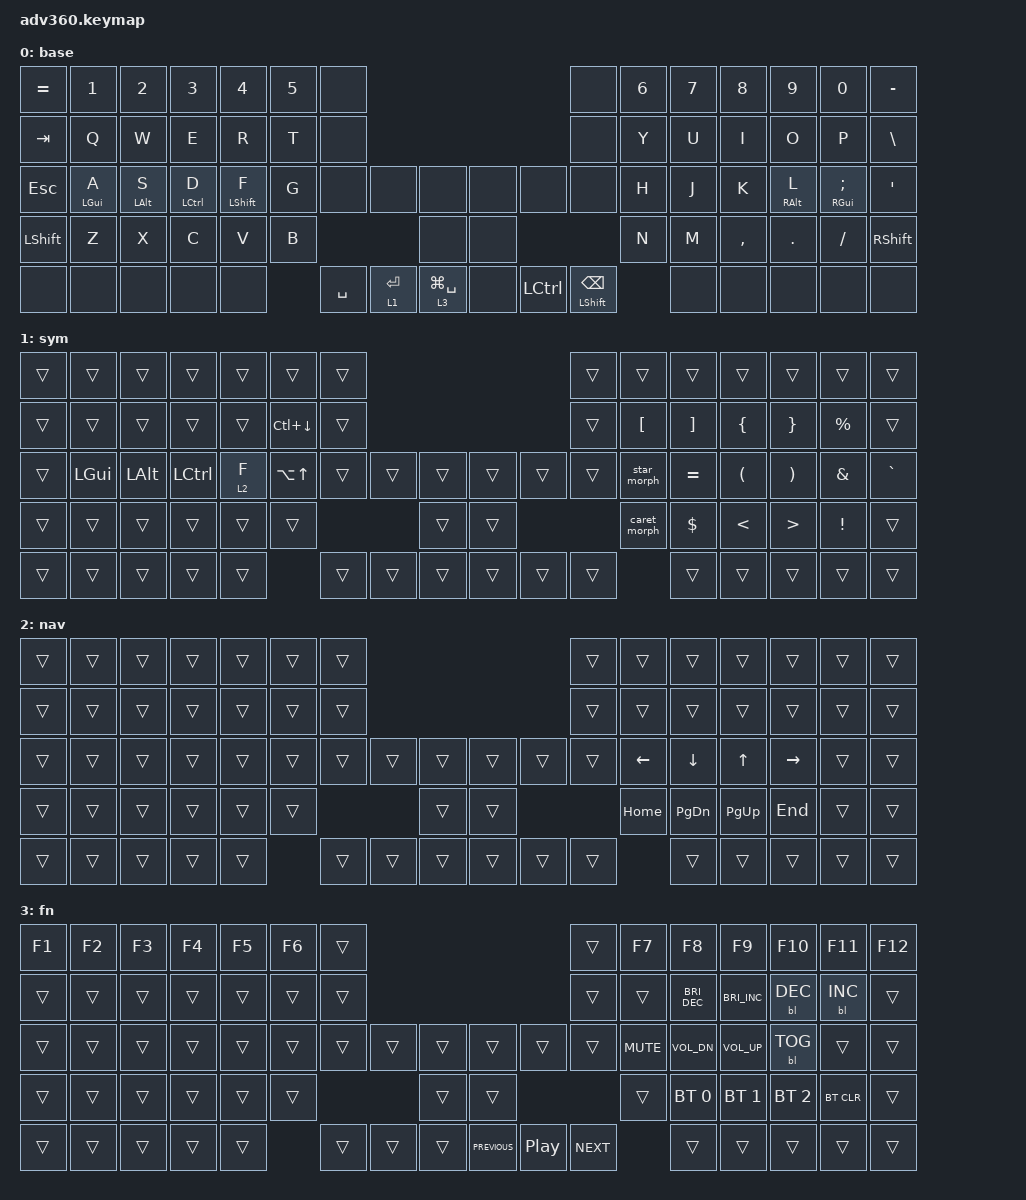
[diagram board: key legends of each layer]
#include <behaviors.dtsi>
#include <dt-bindings/zmk/backlight.h>
#include <dt-bindings/zmk/bt.h>
#include <dt-bindings/zmk/keys.h>

#define KEYS_L 0 1 2 3 4 5 6 14 15 16 17 18 19 20 28 29 30 31 32 33 34 46 47 48 49 50 51 60 61 62 63 64
#define THUMBS_LEFT 35 36 52 65 66 67
#define KEYS_R 7 8 9 10 11 12 13 21 22 23 24 25 26 27 39 40 41 42 43 44 45 54 55 56 57 58 59 71 72 73 74 75
#define THUMBS_RIGHT 37 38 53 68 69 70
#define BASE 0
#define LOWER 1
#define RAISE 2
#define FN 3
#define ADJUST 4

/ {
    behaviors {
        hml: homerow_mods_left {
            compatible = "zmk,behavior-hold-tap";
            label = "HOMEROW_MODS_LEFT";
            #binding-cells = <2>;
            bindings = <&kp>, <&kp>;

            flavor = "balanced";
            tapping-term-ms = <280>;
            quick-tap-ms = <175>; // repeat on tap-into-hold
            require-prior-idle-ms = <150>;
            bindings = <&kp>, <&kp>;

            hold-trigger-key-positions = <KEYS_R THUMBS_LEFT THUMBS_RIGHT>;
            hold-trigger-on-release; // delay positional check until key-release
        };

        hmr: homerow_mods_right {
            compatible = "zmk,behavior-hold-tap";
            label = "HOMEROW_MODS_RIGHT";
            #binding-cells = <2>;
            bindings = <&kp>, <&kp>;

            flavor = "balanced";
            tapping-term-ms = <280>;
            quick-tap-ms = <175>; // repeat on tap-into-hold
            require-prior-idle-ms = <150>;
            bindings = <&kp>, <&kp>;

            hold-trigger-key-positions = <KEYS_L THUMBS_LEFT THUMBS_RIGHT>;
            hold-trigger-on-release; // delay positional check until key-release
        };

        comma_morph: comma_morph {
            compatible = "zmk,behavior-mod-morph";
            label = "COMMA_MORPH";
            #binding-cells = <0>;
            bindings = <&kp COMMA>, <&kp SEMI>;

            mods = <(MOD_RSFT|MOD_LSFT)>;
        };

        dot_morph: dot_morph {
            compatible = "zmk,behavior-mod-morph";
            label = "DOT_MORPH";
            #binding-cells = <0>;
            bindings = <&kp DOT>, <&kp COLON>;

            mods = <(MOD_RSFT|MOD_LSFT)>;
        };

        star_morph: star_morph {
            compatible = "zmk,behavior-mod-morph";
            label = "STAR_MORPH";
            #binding-cells = <0>;
            bindings = <&kp ASTERISK>, <&kp HASH>;

            mods = <(MOD_RSFT|MOD_LSFT)>;
        };

        caret_morph: caret_morph {
            compatible = "zmk,behavior-mod-morph";
            label = "CARET_MORPH";
            #binding-cells = <0>;
            bindings = <&kp CARET>, <&kp LC(NUMBER_6)>;

            mods = <(MOD_LCTL|MOD_RCTL)>;
        };
    };

    macros {
        dot_space: dot_space {
            compatible = "zmk,behavior-macro";
            #binding-cells = <0>;
            bindings = <&kp DOT &kp SPACE &sk LSHFT>;
            label = "DOT_SPACE";
            wait-ms = <0>;
            tap-ms = <5>;
        };
    };

    combos {
        compatible = "zmk,combos";

        // smart caps lock

        combo_caps_word {
            timeout-ms = <50>;
            key-positions = <32 41>;
            bindings = <&caps_word>;
            layers = <0>;
        };

        // sticky shift after dot and space

        combo_dot_spc {
            timeout-ms = <50>;
            key-positions = <57 69>;
            bindings = <&dot_space>;
            layers = <0>;
        };

        // =

        combo_equal {
            timeout-ms = <50>;
            key-positions = <40 41>;
            bindings = <&kp EQUAL>;
            layers = <0>;
        };

        // {

        combo_lbrc {
            timeout-ms = <50>;
            key-positions = <23 24>;
            bindings = <&kp LBRC>;
            layers = <0>;
        };

        // }

        combo_rbrc {
            timeout-ms = <50>;
            key-positions = <24 25>;
            bindings = <&kp RBRC>;
            layers = <0>;
        };

        // (

        combo_lpar {
            timeout-ms = <50>;
            key-positions = <41 42>;
            bindings = <&kp LPAR>;
            layers = <0>;
        };

        // )

        combo_rpar {
            timeout-ms = <50>;
            key-positions = <42 43>;
            bindings = <&kp RPAR>;
            layers = <0>;
        };

        // <

        combo_lt {
            timeout-ms = <50>;
            key-positions = <55 56>;
            bindings = <&kp LT>;
            layers = <0>;
        };

        // >

        combo_gt {
            timeout-ms = <50>;
            key-positions = <56 57>;
            bindings = <&kp GT>;
            layers = <0>;
        };
    };

    keymap {
        compatible = "zmk,keymap";

        base {
            bindings = <
&kp EQUAL  &kp N1           &kp N2           &kp N3               &kp N4             &kp N5  &none                                                                 &none                     &kp N6  &kp N7  &kp N8     &kp N9            &kp N0                    &kp MINUS
&kp TAB    &kp Q            &kp W            &kp E                &kp R              &kp T   &none                                                                 &none                     &kp Y   &kp U   &kp I      &kp O             &kp P                     &kp BSLH
&kp ESC    &hml LEFT_GUI A  &hml LEFT_ALT S  &hml LEFT_CONTROL D  &hml LEFT_SHIFT F  &kp G   &none      &none        &none                &none  &none             &none                     &kp H   &kp J   &kp K      &hmr RIGHT_ALT L  &hmr RIGHT_GUI SEMICOLON  &kp SQT
&kp LSHFT  &kp Z            &kp X            &kp C                &kp V              &kp B                           &none                &none                                              &kp N   &kp M   &kp COMMA  &kp DOT           &kp FSLH                  &kp RSHFT
&none      &none            &none            &none                &none                      &kp SPACE  &lt 1 ENTER  &lt 3 LG(SPACE)      &none  &kp LEFT_CONTROL  &mt LEFT_SHIFT BACKSPACE          &none   &none      &none             &none                     &none
            >;
        };

        sym {
            bindings = <
&trans  &trans        &trans        &trans            &trans   &trans        &trans                                      &trans  &trans            &trans             &trans                &trans                 &trans           &trans
&trans  &trans        &trans        &trans            &trans   &kp LC(DOWN)  &trans                                      &trans  &kp LEFT_BRACKET  &kp RIGHT_BRACKET  &kp LEFT_BRACE        &kp RIGHT_BRACE        &kp PERCENT      &trans
&trans  &kp LEFT_GUI  &kp LEFT_ALT  &kp LEFT_CONTROL  &lt 2 F  &kp LA(UP)    &trans  &trans  &trans      &trans  &trans  &trans  &star_morph       &kp EQUAL          &kp LEFT_PARENTHESIS  &kp RIGHT_PARENTHESIS  &kp AMPS         &kp GRAVE
&trans  &trans        &trans        &trans            &trans   &trans                        &trans      &trans                  &caret_morph      &kp DOLLAR         &kp LT                &kp GT                 &kp EXCLAMATION  &trans
&trans  &trans        &trans        &trans            &trans                 &trans  &trans  &trans      &trans  &trans  &trans                    &trans             &trans                &trans                 &trans           &trans
            >;
        };

        nav {
            bindings = <
&trans  &trans  &trans  &trans  &trans  &trans  &trans                                      &trans  &trans    &trans         &trans       &trans     &trans  &trans
&trans  &trans  &trans  &trans  &trans  &trans  &trans                                      &trans  &trans    &trans         &trans       &trans     &trans  &trans
&trans  &trans  &trans  &trans  &trans  &trans  &trans  &trans  &trans      &trans  &trans  &trans  &kp LEFT  &kp DOWN       &kp UP       &kp RIGHT  &trans  &trans
&trans  &trans  &trans  &trans  &trans  &trans                  &trans      &trans                  &kp HOME  &kp PAGE_DOWN  &kp PAGE_UP  &kp END    &trans  &trans
&trans  &trans  &trans  &trans  &trans          &trans  &trans  &trans      &trans  &trans  &trans            &trans         &trans       &trans     &trans  &trans
            >;
        };

        fn {
            bindings = <
&kp F1  &kp F2  &kp F3  &kp F4  &kp F5  &kp F6  &trans                                                        &trans      &kp F7      &kp F8                &kp F9                &kp F10       &kp F11     &kp F12
&trans  &trans  &trans  &trans  &trans  &trans  &trans                                                        &trans      &trans      &kp C_BRIGHTNESS_DEC  &kp C_BRIGHTNESS_INC  &bl BL_DEC    &bl BL_INC  &trans
&trans  &trans  &trans  &trans  &trans  &trans  &trans  &trans  &trans      &trans          &trans            &trans      &kp C_MUTE  &kp C_VOL_DN          &kp C_VOL_UP          &bl BL_TOG    &trans      &trans
&trans  &trans  &trans  &trans  &trans  &trans                  &trans      &trans                                        &trans      &bt BT_SEL 0          &bt BT_SEL 1          &bt BT_SEL 2  &bt BT_CLR  &trans
&trans  &trans  &trans  &trans  &trans          &trans  &trans  &trans      &kp C_PREVIOUS  &kp C_PLAY_PAUSE  &kp C_NEXT              &trans                &trans                &trans        &trans      &trans
            >;
        };
    };
};
